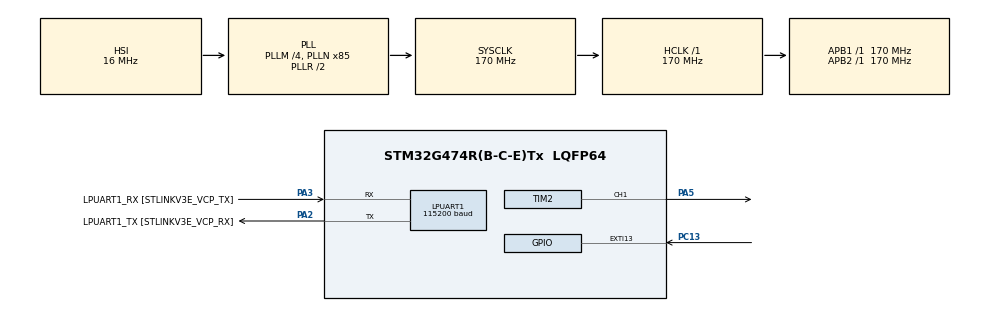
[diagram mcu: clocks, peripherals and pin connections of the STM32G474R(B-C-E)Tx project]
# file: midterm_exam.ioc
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LPUART1.BaudRate=115200
Mcu.Family=STM32G4
Mcu.Name=STM32G474R(B-C-E)Tx
Mcu.Package=LQFP64
NVIC.EXTI15_10_IRQn=true\:2\:0\:true\:false\:true\:true\:true\:true
NVIC.LPUART1_IRQn=true\:0\:0\:false\:false\:true\:true\:true\:true
NVIC.PriorityGroup=NVIC_PRIORITYGROUP_4
PA13.GPIO_Label=T_SWDIO
PA13.Signal=SYS_JTMS-SWDIO
PA14.GPIO_Label=T_SWCLK
PA14.Signal=SYS_JTCK-SWCLK
PA2.GPIO_Label=LPUART1_TX [STLINKV3E_VCP_RX]
PA2.Mode=Asynchronous
PA2.Signal=LPUART1_TX
PA3.GPIO_Label=LPUART1_RX [STLINKV3E_VCP_TX]
PA3.Mode=Asynchronous
PA3.Signal=LPUART1_RX
PA5.Signal=S_TIM2_CH1
PB3.GPIO_Label=T_SWO
PB3.Signal=SYS_JTDO-SWO
PC13.GPIO_PuPd=GPIO_PULLDOWN
PC13.Signal=GPXTI13
PC14-OSC32_IN.GPIO_Label=RCC_OSC32_IN
PC14-OSC32_IN.Signal=RCC_OSC32_IN
PC15-OSC32_OUT.GPIO_Label=RCC_OSC32_OUT
PC15-OSC32_OUT.Signal=RCC_OSC32_OUT
PF0-OSC_IN.GPIO_Label=RCC_OSC_IN
PF0-OSC_IN.Signal=RCC_OSC_IN
PF1-OSC_OUT.GPIO_Label=RCC_OSC_OUT
PF1-OSC_OUT.Signal=RCC_OSC_OUT
ProjectManager.HeapSize=0x200
ProjectManager.StackSize=0x400
ProjectManager.TargetToolchain=STM32CubeIDE
RCC.ADC12Freq_Value=170000000
RCC.ADC345Freq_Value=170000000
RCC.AHBFreq_Value=170000000
RCC.APB1Freq_Value=170000000
RCC.APB1TimFreq_Value=170000000
RCC.APB2Freq_Value=170000000
RCC.APB2TimFreq_Value=170000000
RCC.CortexFreq_Value=170000000
RCC.EXTERNAL_CLOCK_VALUE=12288000
RCC.HCLKFreq_Value=170000000
RCC.HSE_VALUE=24000000
RCC.HSI48_VALUE=48000000
RCC.HSI_VALUE=16000000
RCC.LSE_VALUE=32768
RCC.PLLM=RCC_PLLM_DIV4
RCC.PLLN=85
RCC.RTCClockSelection=RCC_RTCCLKSOURCE_LSE
RCC.SYSCLKFreq_VALUE=170000000
RCC.SYSCLKSource=RCC_SYSCLKSOURCE_PLLCLK
RCC.USBFreq_Value=170000000
RCC.VCOOutputFreq_Value=340000000
SH.S_TIM2_CH1.0=TIM2_CH1,PWM Generation1 CH1
TIM2.Channel-PWM\ Generation1\ CH1=TIM_CHANNEL_1
TIM2.PeriodNoDither=999
TIM2.Prescaler=169
VP_SYS_VS_DBSignals.Mode=DisableDeadBatterySignals
VP_TIM2_VS_ClockSourceINT.Mode=Internal
board=NUCLEO-G474RE

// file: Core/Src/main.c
/* USER CODE BEGIN Header */
/**
  ******************************************************************************
  * @file           : main.c
  * @brief          : Main program body
  ******************************************************************************
  * @attention
  *
  * Copyright (c) 2026 STMicroelectronics.
  * All rights reserved.
  *
  * This software is licensed under terms that can be found in the LICENSE file
  * in the root directory of this software component.
  * If no LICENSE file comes with this software, it is provided AS-IS.
  *
  ******************************************************************************
  */
/* USER CODE END Header */
#include "main.h"

/* USER CODE BEGIN Includes */

#include <stdio.h>
#include <stdlib.h>
#include <string.h>
#include <ctype.h>

/* USER CODE END Includes */

/* USER CODE BEGIN PTD */

#define RING_BUFFER_SIZE 64  // 必須為 2 的冪次方 (2^6)
#define RING_BUFFER_MASK (RING_BUFFER_SIZE - 1)

typedef struct {
    uint8_t buffer[RING_BUFFER_SIZE];
    volatile uint16_t head;
    volatile uint16_t tail;
} RingBuffer;

/* USER CODE END PTD */

UART_HandleTypeDef hlpuart1;

TIM_HandleTypeDef htim2;

/* USER CODE BEGIN PV */

// 通訊與中斷緩衝區
static RingBuffer rx_fifo = {{0}, 0, 0};
static uint8_t rx_byte = 0;

// 快槍手遊戲狀態機變數
static volatile uint32_t last_exti_tick = 0;
static volatile uint32_t signal_start_ms = 0;
static volatile uint32_t fire_start_ms = 0;
static volatile uint8_t hit_flag = 0;
static volatile uint32_t hit_reaction_ms = 0;

static uint32_t target_fire_time = 0;
static uint8_t is_waiting_to_fire = 0;

// UART 輸出暫存字串
char uart_tx_buf[128];

/* USER CODE END PV */

void SystemClock_Config(void);
static void MX_GPIO_Init(void);
static void MX_LPUART1_UART_Init(void);
static void MX_TIM2_Init(void);
/* USER CODE BEGIN PFP */

static void RingBuffer_Push(uint8_t data);
static int RingBuffer_Pop(uint8_t *data);
static void Process_UART_Commands(void);
static void Send_UART_String(const char *str);

/* USER CODE END PFP */

/* USER CODE BEGIN 0 */

// --- Ring Buffer 實作 ---
static void RingBuffer_Push(uint8_t data) {
    uint16_t next_head = (rx_fifo.head + 1) & RING_BUFFER_MASK;
    if (next_head != rx_fifo.tail) {
        rx_fifo.buffer[rx_fifo.head] = data;
        rx_fifo.head = next_head;
    }
}

static int RingBuffer_Pop(uint8_t *data) {
    if (rx_fifo.head == rx_fifo.tail) {
        return 0; // 空
    }
    *data = rx_fifo.buffer[rx_fifo.tail];
    rx_fifo.tail = (rx_fifo.tail + 1) & RING_BUFFER_MASK;
    return 1;
}

static void Send_UART_String(const char *str) {
    HAL_UART_Transmit(&hlpuart1, (uint8_t *)str, strlen(str), HAL_MAX_DELAY);
}

// --- 指令解析器 (start N) ---
static void Process_UART_Commands(void) {
    static char cmd_line[32];
    static uint8_t idx = 0;
    uint8_t ch;

    while (RingBuffer_Pop(&ch)) {
        if (ch == '\r' || ch == '\n') {
            if (idx > 0) {
                cmd_line[idx] = '\0';

                if (strncmp(cmd_line, "start", 5) == 0) {
                    int sec = 0;
                    if (sscanf(cmd_line + 5, "%d", &sec) == 1 && sec >= 1) {
                        uint32_t random_delay_ms = (uint32_t)sec * 1000;
                        target_fire_time = HAL_GetTick() + random_delay_ms;
                        is_waiting_to_fire = 1;
                        hit_flag = 0;
                        signal_start_ms = 0;

                        snprintf(uart_tx_buf, sizeof(uart_tx_buf),
                                 "\r\n[GAME] Ready! Target will appear in %d sec...\r\n", sec);
                        Send_UART_String(uart_tx_buf);
                    } else {
                        Send_UART_String("\r\n[ERROR] Invalid format! Use: start N (N >= 1)\r\n");
                    }
                }
                idx = 0;
            }
        } else if (idx < sizeof(cmd_line) - 1) {
            cmd_line[idx++] = (char)ch;
        }
    }
}

/* --- ISR Callbacks --- */
// UART 接收完成中斷
void HAL_UART_RxCpltCallback(UART_HandleTypeDef *huart) {
    if (huart->Instance == LPUART1) {
        RingBuffer_Push(rx_byte);
        HAL_UART_Receive_IT(&hlpuart1, &rx_byte, 1); // 重啟中斷
    }
}

// EXTI15_10 按鈕中斷 (PC13)
void HAL_GPIO_EXTI_Callback(uint16_t GPIO_Pin) {
    if (GPIO_Pin == GPIO_PIN_13) {
        uint32_t current_tick = HAL_GetTick();

        // 20ms 非阻塞去彈跳
        if ((current_tick - last_exti_tick) > 20) {
            last_exti_tick = current_tick;

            if (signal_start_ms > 0) {
                hit_reaction_ms = current_tick - signal_start_ms;
                hit_flag = 1;
                signal_start_ms = 0;
            }
        }
    }
}

/* USER CODE END 0 */

int main(void)
{

  /* MCU Configuration--------------------------------------------------------*/

  /* Reset of all peripherals, Initializes the Flash interface and the Systick. */
  HAL_Init();

  /* Configure the system clock */
  SystemClock_Config();

  /* Initialize all configured peripherals */
  MX_GPIO_Init();
  MX_LPUART1_UART_Init();
  MX_TIM2_Init();
  /* USER CODE BEGIN 2 */

  // 開啟 UART 接收中斷
    HAL_UART_Receive_IT(&hlpuart1, &rx_byte, 1);

    // 開機歡迎訊息
    Send_UART_String("\r\n========================================");
    Send_UART_String("\r\n   Fast Draw System Ready (STM32G4)    ");
    Send_UART_String("\r\n   Type 'start N' (e.g. start 3) to play");
    Send_UART_String("\r\n========================================\r\n");

  /* USER CODE END 2 */

  /* Infinite loop */
  /* USER CODE BEGIN WHILE */
  while (1)
  {
	  // 1. 處理 UART FIFO 指令
	      Process_UART_Commands();

	      uint32_t now = HAL_GetTick();

	      // 2. 觸發開火號角 (1kHz PWM, 50% 佔空比)
	      if (is_waiting_to_fire && (now >= target_fire_time)) {
	          is_waiting_to_fire = 0;

	          // 直接寫入暫存器 CCR1 (50% Duty Cycle)
	          __HAL_TIM_SET_COMPARE(&htim2, TIM_CHANNEL_1, 500);
	          HAL_TIM_PWM_Start(&htim2, TIM_CHANNEL_1);

	          signal_start_ms = fire_start_ms = now;
	          Send_UART_String("\r\n>> SIGNAL FIRE! SHOT NOW! <<\r\n");
	      }

	      // 3. 按鈕擊中邏輯
	      if (hit_flag) {
	          hit_flag = 0;
	          HAL_TIM_PWM_Stop(&htim2, TIM_CHANNEL_1);

	          snprintf(uart_tx_buf, sizeof(uart_tx_buf),
	                   "\r\n[RESULT] HIT! Reaction Time: %lu ms\r\n", hit_reaction_ms);
	          Send_UART_String(uart_tx_buf);
	      }
	      // 4. 超時判定 (超過 2000 ms 未擊中)
	      else if (signal_start_ms > 0 && ((now - fire_start_ms) > 2000)) {
	          signal_start_ms = 0;
	          HAL_TIM_PWM_Stop(&htim2, TIM_CHANNEL_1);

	          Send_UART_String("\r\n[RESULT] TOO SLOW! GAME OVER!\r\n");
	      }

    /* USER CODE END WHILE */

  }
}

void SystemClock_Config(void)
{
  RCC_OscInitTypeDef RCC_OscInitStruct = {0};
  RCC_ClkInitTypeDef RCC_ClkInitStruct = {0};

  /** Configure the main internal regulator output voltage
  */
  HAL_PWREx_ControlVoltageScaling(PWR_REGULATOR_VOLTAGE_SCALE1_BOOST);

  /** Initializes the RCC Oscillators according to the specified parameters
  * in the RCC_OscInitTypeDef structure.
  */
  RCC_OscInitStruct.OscillatorType = RCC_OSCILLATORTYPE_HSI;
  RCC_OscInitStruct.HSIState = RCC_HSI_ON;
  RCC_OscInitStruct.HSICalibrationValue = RCC_HSICALIBRATION_DEFAULT;
  RCC_OscInitStruct.PLL.PLLState = RCC_PLL_ON;
  RCC_OscInitStruct.PLL.PLLSource = RCC_PLLSOURCE_HSI;
  RCC_OscInitStruct.PLL.PLLM = RCC_PLLM_DIV4;
  RCC_OscInitStruct.PLL.PLLN = 85;
  RCC_OscInitStruct.PLL.PLLP = RCC_PLLP_DIV2;
  RCC_OscInitStruct.PLL.PLLQ = RCC_PLLQ_DIV2;
  RCC_OscInitStruct.PLL.PLLR = RCC_PLLR_DIV2;
  if (HAL_RCC_OscConfig(&RCC_OscInitStruct) != HAL_OK)
  {
    Error_Handler();
  }

  /** Initializes the CPU, AHB and APB buses clocks
  */
  RCC_ClkInitStruct.ClockType = RCC_CLOCKTYPE_HCLK|RCC_CLOCKTYPE_SYSCLK
                              |RCC_CLOCKTYPE_PCLK1|RCC_CLOCKTYPE_PCLK2;
  RCC_ClkInitStruct.SYSCLKSource = RCC_SYSCLKSOURCE_PLLCLK;
  RCC_ClkInitStruct.AHBCLKDivider = RCC_SYSCLK_DIV1;
  RCC_ClkInitStruct.APB1CLKDivider = RCC_HCLK_DIV1;
  RCC_ClkInitStruct.APB2CLKDivider = RCC_HCLK_DIV1;

  if (HAL_RCC_ClockConfig(&RCC_ClkInitStruct, FLASH_LATENCY_4) != HAL_OK)
  {
    Error_Handler();
  }
}

static void MX_LPUART1_UART_Init(void)
{

  hlpuart1.Instance = LPUART1;
  hlpuart1.Init.BaudRate = 115200;
  hlpuart1.Init.WordLength = UART_WORDLENGTH_8B;
  hlpuart1.Init.StopBits = UART_STOPBITS_1;
  hlpuart1.Init.Parity = UART_PARITY_NONE;
  hlpuart1.Init.Mode = UART_MODE_TX_RX;
  hlpuart1.Init.HwFlowCtl = UART_HWCONTROL_NONE;
  hlpuart1.Init.OneBitSampling = UART_ONE_BIT_SAMPLE_DISABLE;
  hlpuart1.Init.ClockPrescaler = UART_PRESCALER_DIV1;
  hlpuart1.AdvancedInit.AdvFeatureInit = UART_ADVFEATURE_NO_INIT;
  if (HAL_UART_Init(&hlpuart1) != HAL_OK)
  {
    Error_Handler();
  }
  if (HAL_UARTEx_SetTxFifoThreshold(&hlpuart1, UART_TXFIFO_THRESHOLD_1_8) != HAL_OK)
  {
    Error_Handler();
  }
  if (HAL_UARTEx_SetRxFifoThreshold(&hlpuart1, UART_RXFIFO_THRESHOLD_1_8) != HAL_OK)
  {
    Error_Handler();
  }
  if (HAL_UARTEx_DisableFifoMode(&hlpuart1) != HAL_OK)
  {
    Error_Handler();
  }

}

static void MX_TIM2_Init(void)
{

  TIM_ClockConfigTypeDef sClockSourceConfig = {0};
  TIM_MasterConfigTypeDef sMasterConfig = {0};
  TIM_OC_InitTypeDef sConfigOC = {0};

  htim2.Instance = TIM2;
  htim2.Init.Prescaler = 169;
  htim2.Init.CounterMode = TIM_COUNTERMODE_UP;
  htim2.Init.Period = 999;
  htim2.Init.ClockDivision = TIM_CLOCKDIVISION_DIV1;
  htim2.Init.AutoReloadPreload = TIM_AUTORELOAD_PRELOAD_DISABLE;
  if (HAL_TIM_Base_Init(&htim2) != HAL_OK)
  {
    Error_Handler();
  }
  sClockSourceConfig.ClockSource = TIM_CLOCKSOURCE_INTERNAL;
  if (HAL_TIM_ConfigClockSource(&htim2, &sClockSourceConfig) != HAL_OK)
  {
    Error_Handler();
  }
  if (HAL_TIM_PWM_Init(&htim2) != HAL_OK)
  {
    Error_Handler();
  }
  sMasterConfig.MasterOutputTrigger = TIM_TRGO_RESET;
  sMasterConfig.MasterSlaveMode = TIM_MASTERSLAVEMODE_DISABLE;
  if (HAL_TIMEx_MasterConfigSynchronization(&htim2, &sMasterConfig) != HAL_OK)
  {
    Error_Handler();
  }
  sConfigOC.OCMode = TIM_OCMODE_PWM1;
  sConfigOC.Pulse = 0;
  sConfigOC.OCPolarity = TIM_OCPOLARITY_HIGH;
  sConfigOC.OCFastMode = TIM_OCFAST_DISABLE;
  if (HAL_TIM_PWM_ConfigChannel(&htim2, &sConfigOC, TIM_CHANNEL_1) != HAL_OK)
  {
    Error_Handler();
  }
  HAL_TIM_MspPostInit(&htim2);

}

static void MX_GPIO_Init(void)
{
  GPIO_InitTypeDef GPIO_InitStruct = {0};

  /* GPIO Ports Clock Enable */
  __HAL_RCC_GPIOC_CLK_ENABLE();
  __HAL_RCC_GPIOF_CLK_ENABLE();
  __HAL_RCC_GPIOA_CLK_ENABLE();
  __HAL_RCC_GPIOB_CLK_ENABLE();

  /*Configure GPIO pin : PC13 */
  GPIO_InitStruct.Pin = GPIO_PIN_13;
  GPIO_InitStruct.Mode = GPIO_MODE_IT_RISING;
  GPIO_InitStruct.Pull = GPIO_PULLDOWN;
  HAL_GPIO_Init(GPIOC, &GPIO_InitStruct);

  /* EXTI interrupt init*/
  HAL_NVIC_SetPriority(EXTI15_10_IRQn, 2, 0);
  HAL_NVIC_EnableIRQ(EXTI15_10_IRQn);

}

void Error_Handler(void)
{
  __disable_irq();
  while (1)
  {
  }
}
